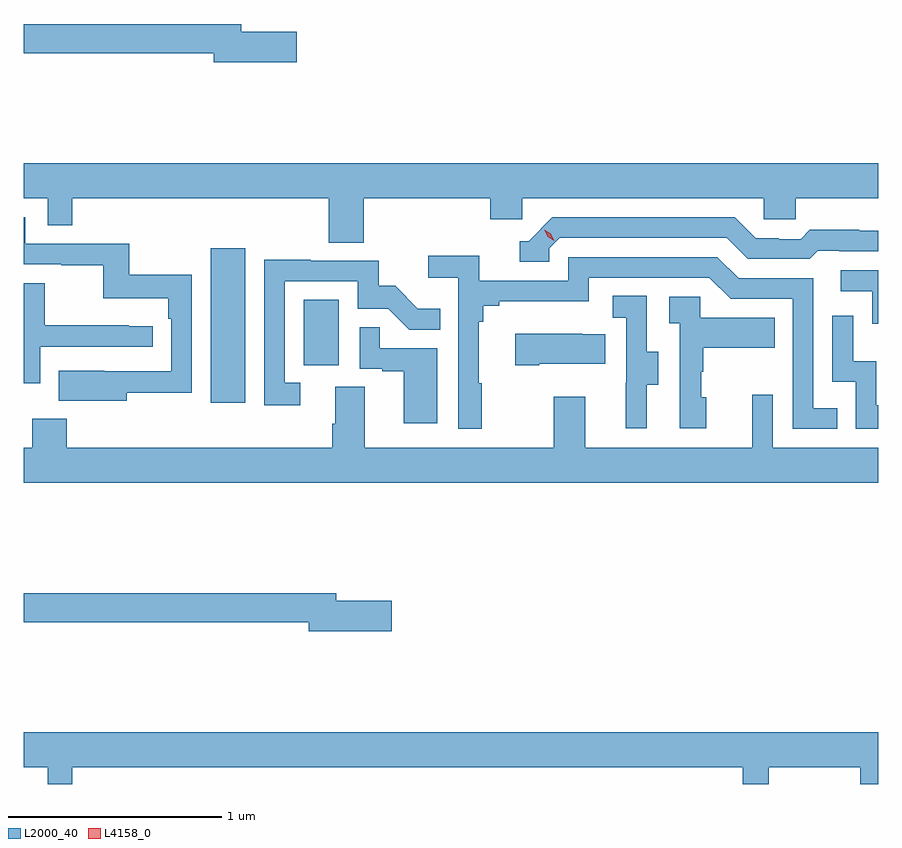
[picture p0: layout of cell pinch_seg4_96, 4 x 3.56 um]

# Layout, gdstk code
import gdstk
lib = gdstk.Library(unit=1e-6, precision=1e-09)
def R(c, l, rs):  # rectangles x0, y0, x1, y1
    for r in rs: c.add(gdstk.rectangle(r[:2], r[2:], *l))
def P(c, l, *ps):  # polygons
    for p in ps: c.add(gdstk.Polygon(p, *l))
L2000_40 = (2000, 40)
L4158_0 = (4158, 0)

pinch_seg4_96 = lib.new_cell('pinch_seg4_96')
R(pinch_seg4_96, L2000_40, [(1070.201,809.184,1070.362,809.905), (1070.636,809.358,1070.8,809.665)])
P(pinch_seg4_96, L2000_40, [(1070.605,810.92),(1070.344,810.92),(1070.344,810.956),(1069.326,810.956),(1069.326,810.82),(1070.216,810.82),(1070.216,810.778),(1070.605,810.778)],
  [(1070.918,810.14),(1071.509,810.14),(1071.509,810.042),(1071.66,810.042),(1071.66,810.14),(1072.791,810.14),(1072.791,810.042),(1072.941,810.042),(1072.941,810.14),(1073.326,810.14),(1073.326,810.304),(1069.326,810.304),(1069.326,810.14),(1069.437,810.14),(1069.437,810.013),(1069.553,810.013),(1069.553,810.14),(1070.753,810.14),(1070.753,809.932),(1070.918,809.932)],
  [(1071.786,809.907),(1071.834,809.955),(1072.617,809.955),(1072.716,809.856),(1073.005,809.856),(1073.044,809.895),(1073.143,809.895),(1073.143,809.892),(1073.326,809.892),(1073.326,809.989),(1073.238,809.989),(1073.238,809.992),(1073.005,809.992),(1072.963,809.949),(1072.86,809.949),(1072.86,809.952),(1072.753,809.952),(1072.654,810.051),(1071.801,810.051),(1071.69,809.94),(1071.647,809.94),(1071.647,809.844),(1071.786,809.844)],
  [(1069.807,809.23),(1070.112,809.23),(1070.112,809.782),(1069.819,809.782),(1069.819,809.928),(1069.332,809.928),(1069.332,810.051),(1069.326,810.051),(1069.326,809.832),(1069.501,809.832),(1069.501,809.827),(1069.698,809.827),(1069.698,809.672),(1070.003,809.672),(1070.003,809.576),(1070.016,809.576),(1070.016,809.331),(1069.703,809.331),(1069.703,809.332),(1069.489,809.332),(1069.489,809.192),(1069.807,809.192)],
  [(1071.469,809.273),(1071.457,809.273),(1071.457,809.561),(1071.476,809.561),(1071.476,809.638),(1071.553,809.638),(1071.553,809.657),(1071.972,809.657),(1071.972,809.769),(1072.536,809.769),(1072.635,809.67),(1072.926,809.67),(1072.926,809.061),(1073.135,809.061),(1073.135,809.157),(1073.022,809.157),(1073.022,809.766),(1072.672,809.766),(1072.573,809.865),(1071.876,809.865),(1071.876,809.754),(1071.458,809.754),(1071.458,809.87),(1071.219,809.87),(1071.219,809.768),(1071.36,809.768),(1071.36,809.061),(1071.469,809.061)],
  [(1070.62,809.277),(1070.547,809.277),(1070.547,809.751),(1070.889,809.751),(1070.889,809.622),(1071.033,809.622),(1071.131,809.524),(1071.275,809.524),(1071.275,809.623),(1071.171,809.623),(1071.064,809.73),(1070.988,809.73),(1070.988,809.847),(1070.669,809.847),(1070.669,809.852),(1070.451,809.852),(1070.451,809.172),(1070.62,809.172)],
  [(1073.326,809.802),(1073.151,809.802),(1073.151,809.706),(1073.298,809.706),(1073.298,809.553),(1073.326,809.553)],
  [(1069.404,809.445),(1069.93,809.445),(1069.93,809.541),(1069.817,809.541),(1069.817,809.546),(1069.424,809.546),(1069.424,809.742),(1069.326,809.742),(1069.326,809.273),(1069.404,809.273)],
  [(1072.243,809.266),(1072.297,809.266),(1072.297,809.421),(1072.242,809.421),(1072.242,809.684),(1072.083,809.684),(1072.083,809.581),(1072.146,809.581),(1072.146,809.277),(1072.145,809.277),(1072.145,809.064),(1072.243,809.064)],
  [(1072.522,809.208),(1072.497,809.208),(1072.497,809.327),(1072.507,809.327),(1072.507,809.441),(1072.841,809.441),(1072.841,809.581),(1072.494,809.581),(1072.494,809.679),(1072.347,809.679),(1072.347,809.555),(1072.398,809.555),(1072.398,809.064),(1072.522,809.064)],
  [(1073.326,809.17),(1073.318,809.17),(1073.318,809.378),(1073.208,809.378),(1073.208,809.59),(1073.112,809.59),(1073.112,809.28),(1073.22,809.28),(1073.22,809.061),(1073.326,809.061)],
  [(1071.262,809.439),(1070.993,809.439),(1070.993,809.537),(1070.898,809.537),(1070.898,809.343),(1071.005,809.343),(1071.005,809.331),(1071.104,809.331),(1071.104,809.088),(1071.262,809.088)],
  [(1071.739,809.366),(1072.049,809.366),(1072.049,809.503),(1071.941,809.503),(1071.941,809.506),(1071.627,809.506),(1071.627,809.359),(1071.739,809.359)],
  [(1073.326,808.972),(1072.833,808.972),(1072.833,809.221),(1072.736,809.221),(1072.736,808.972),(1071.955,808.972),(1071.955,809.212),(1071.808,809.212),(1071.808,808.972),(1070.923,808.972),(1070.923,809.258),(1070.783,809.258),(1070.783,809.084),(1070.771,809.084),(1070.771,808.972),(1069.526,808.972),(1069.526,809.107),(1069.366,809.107),(1069.366,808.972),(1069.326,808.972),(1069.326,808.808),(1073.326,808.808)],
  [(1071.049,808.256),(1070.788,808.256),(1070.788,808.292),(1069.326,808.292),(1069.326,808.156),(1070.66,808.156),(1070.66,808.114),(1071.049,808.114)],
  [(1069.553,807.476),(1072.692,807.476),(1072.692,807.398),(1072.813,807.398),(1072.813,807.476),(1073.243,807.476),(1073.243,807.398),(1073.326,807.398),(1073.326,807.64),(1069.326,807.64),(1069.326,807.476),(1069.437,807.476),(1069.437,807.398),(1069.553,807.398)])
P(pinch_seg4_96, L4158_0, [(1071.809,809.941),(1071.778,809.96),(1071.762,809.992),(1071.762,809.992),(1071.762,809.992),(1071.793,809.973),(1071.81,809.941),(1071.81,809.941)])

lib.write_gds('pinch_seg4_96.gds')
